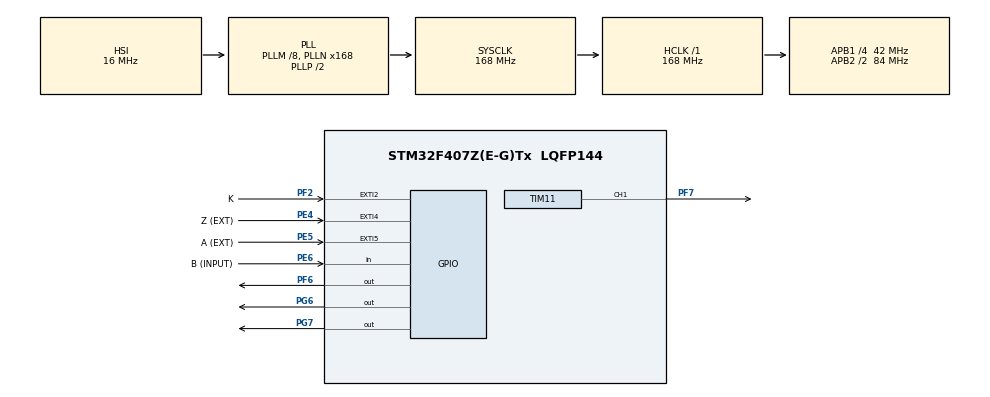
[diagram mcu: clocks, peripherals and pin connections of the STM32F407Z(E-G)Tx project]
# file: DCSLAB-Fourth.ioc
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Mcu.Family=STM32F4
Mcu.Name=STM32F407Z(E-G)Tx
Mcu.Package=LQFP144
NVIC.EXTI2_IRQn=true\:0\:0\:false\:false\:true\:true\:true\:true
NVIC.EXTI4_IRQn=true\:0\:0\:false\:false\:true\:true\:true\:true
NVIC.EXTI9_5_IRQn=true\:0\:0\:false\:false\:true\:true\:true\:true
NVIC.PriorityGroup=NVIC_PRIORITYGROUP_4
NVIC.TIM6_DAC_IRQn=true\:0\:0\:false\:false\:true\:true\:true\:true
NVIC.TIM7_IRQn=true\:0\:0\:false\:false\:true\:true\:true\:true
PE4.GPIO_Label=Z (EXT)
PE4.Signal=GPXTI4
PE5.GPIO_Label=A (EXT)
PE5.Signal=GPXTI5
PE6.GPIO_Label=B (INPUT)
PE6.Signal=GPIO_Input
PF2.GPIO_Label=K
PF2.Signal=GPXTI2
PF6.Signal=GPIO_Output
PF7.Signal=S_TIM11_CH1
PG6.Signal=GPIO_Output
PG7.Signal=GPIO_Output
ProjectManager.HeapSize=0x200
ProjectManager.StackSize=0x400
ProjectManager.TargetToolchain=STM32CubeIDE
RCC.48MHZClocksFreq_Value=84000000
RCC.AHBFreq_Value=168000000
RCC.APB1CLKDivider=RCC_HCLK_DIV4
RCC.APB1Freq_Value=42000000
RCC.APB1TimFreq_Value=84000000
RCC.APB2CLKDivider=RCC_HCLK_DIV2
RCC.APB2Freq_Value=84000000
RCC.APB2TimFreq_Value=168000000
RCC.CortexFreq_Value=168000000
RCC.HCLKFreq_Value=168000000
RCC.HSE_VALUE=25000000
RCC.HSI_VALUE=16000000
RCC.LSE_VALUE=32768
RCC.PLLM=8
RCC.PLLN=168
RCC.SYSCLKFreq_VALUE=168000000
RCC.SYSCLKSource=RCC_SYSCLKSOURCE_PLLCLK
RCC.VCOOutputFreq_Value=336000000
SH.S_TIM11_CH1.0=TIM11_CH1,PWM Generation1 CH1
TIM11.Channel=TIM_CHANNEL_1
TIM11.Period=1119
TIM11.Prescaler=9
TIM6.Period=9999
TIM6.Prescaler=15
TIM7.Period=9999
TIM7.Prescaler=159
VP_TIM11_VS_ClockSourceINT.Mode=Enable_Timer
VP_TIM6_VS_ClockSourceINT.Mode=Enable_Timer
VP_TIM7_VS_ClockSourceINT.Mode=Enable_Timer
board=custom

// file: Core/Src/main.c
/* USER CODE BEGIN Header */
/**
  ******************************************************************************
  * @file           : main.c
  * @brief          : Main program body
  ******************************************************************************
  * @attention
  *
  * Copyright (c) 2024 STMicroelectronics.
  * All rights reserved.
  *
  * This software is licensed under terms that can be found in the LICENSE file
  * in the root directory of this software component.
  * If no LICENSE file comes with this software, it is provided AS-IS.
  *
  ******************************************************************************
  */
/* USER CODE END Header */
#include "main.h"

TIM_HandleTypeDef htim6;
TIM_HandleTypeDef htim7;
TIM_HandleTypeDef htim11;

/* USER CODE BEGIN PV */
uint16_t counter;
int pos_counter;
float pos;
uint16_t speed;
uint16_t speed_previous;
int dir;
//uint16_t CCR_DB;
//uint16_t CCR_K1;
//uint16_t Speed_K1;
//uint16_t CCR_K2;
//uint16_t Speed_K2;
//uint16_t k_value;
//uint16_t Tau_value;

float Setpoint = 800;
float ek_1 = 0;
float ek;
float uk_1 = 0;
float uk;
uint16_t duty;
float Kp = 0.02;
float Ki = 0.2;
float Ts = 10;

typedef enum{
	INIT = 0, INIT2
} Engine_State_t;

Engine_State_t state = INIT;

typedef enum{
	OK = 0, ERR
} result_t;

//result_t init(void);
//result_t idle(void);
//result_t db(void);
//result_t k1(void);
//result_t k2(void);
//result_t tau(void);

void setDir(uint8_t dir);
void setDuty(uint16_t duty);
void setTs(uint8_t Ts);
void Vout2PWM(float u);

/* USER CODE END PV */

void SystemClock_Config(void);
static void MX_GPIO_Init(void);
static void MX_TIM6_Init(void);
static void MX_TIM11_Init(void);
static void MX_TIM7_Init(void);

int main(void)
{

  /* MCU Configuration--------------------------------------------------------*/

  /* Reset of all peripherals, Initializes the Flash interface and the Systick. */
  HAL_Init();

  /* Configure the system clock */
  SystemClock_Config();

  /* Initialize all configured peripherals */
  MX_GPIO_Init();
  MX_TIM6_Init();
  MX_TIM11_Init();
  MX_TIM7_Init();
  /* USER CODE BEGIN 2 */
  HAL_TIM_Base_Start_IT(&htim6);
  HAL_TIM_Base_Start_IT(&htim7);
  HAL_TIM_PWM_Start(&htim11, TIM_CHANNEL_1);

  TIM11->CCR1 = 0;
  pos = 0;

  /* USER CODE END 2 */

  /* Infinite loop */
  /* USER CODE BEGIN WHILE */
  while (1)
  {

	  	  switch(state){

	  	  	  case INIT:
	  	  		  HAL_Delay(1000);
	  	  		  TIM11->CCR1 = 350;
	  	  		  HAL_Delay(2000);
//	  	  		  state = set_Ts;
	  	  		  break;
	  	  	  case INIT2:

	  	  		  break;

	  	  	  default:
	  	  		  state = INIT;
	  	  		  break;
	  	  }

//	  switch(state){
//
//	  	  case INIT:
//	  		  state = IDLE;
//	  		  break;
//	  	  case IDLE:
//	  		  state = DB;
//	  		  break;
//	  	  case DB:
//	  		  if(db() == OK){
//	  			  state = K1;
//	  		  }
//	  		  break;
//	  	  case K1:
//	  		  TIM11->CCR1 = CCR_DB + 100;
//	  		  HAL_Delay(6000);
//	  		  CCR_K1 = TIM11->CCR1;
//	  		  Speed_K1 = speed;
//
//	  		  TIM11->CCR1 = TIM11->CCR1 * 2;
//	  		  state = K2;
//	  		  break;
//
//	  	  case K2:
//	  		  break;
//	  	  case Tau0:
//	  		  TIM11->CCR1 = CCR_K1;
//	  		  HAL_Delay(5000);
//	  		  TIM11->CCR1 = CCR_K2;
//	  		  state = Tau;
//	  		  break;
//	  	  case Tau:
//	  		  break;
//	  	  default:
//	  		  state = IDLE;
//	  		  break;
//
//	  }

    /* USER CODE END WHILE */

  }
}

void SystemClock_Config(void)
{
  RCC_OscInitTypeDef RCC_OscInitStruct = {0};
  RCC_ClkInitTypeDef RCC_ClkInitStruct = {0};

  /** Configure the main internal regulator output voltage
  */
  __HAL_RCC_PWR_CLK_ENABLE();
  __HAL_PWR_VOLTAGESCALING_CONFIG(PWR_REGULATOR_VOLTAGE_SCALE1);

  /** Initializes the RCC Oscillators according to the specified parameters
  * in the RCC_OscInitTypeDef structure.
  */
  RCC_OscInitStruct.OscillatorType = RCC_OSCILLATORTYPE_HSI;
  RCC_OscInitStruct.HSIState = RCC_HSI_ON;
  RCC_OscInitStruct.HSICalibrationValue = RCC_HSICALIBRATION_DEFAULT;
  RCC_OscInitStruct.PLL.PLLState = RCC_PLL_ON;
  RCC_OscInitStruct.PLL.PLLSource = RCC_PLLSOURCE_HSI;
  RCC_OscInitStruct.PLL.PLLM = 8;
  RCC_OscInitStruct.PLL.PLLN = 168;
  RCC_OscInitStruct.PLL.PLLP = RCC_PLLP_DIV2;
  RCC_OscInitStruct.PLL.PLLQ = 4;
  if (HAL_RCC_OscConfig(&RCC_OscInitStruct) != HAL_OK)
  {
    Error_Handler();
  }

  /** Initializes the CPU, AHB and APB buses clocks
  */
  RCC_ClkInitStruct.ClockType = RCC_CLOCKTYPE_HCLK|RCC_CLOCKTYPE_SYSCLK
                              |RCC_CLOCKTYPE_PCLK1|RCC_CLOCKTYPE_PCLK2;
  RCC_ClkInitStruct.SYSCLKSource = RCC_SYSCLKSOURCE_PLLCLK;
  RCC_ClkInitStruct.AHBCLKDivider = RCC_SYSCLK_DIV1;
  RCC_ClkInitStruct.APB1CLKDivider = RCC_HCLK_DIV4;
  RCC_ClkInitStruct.APB2CLKDivider = RCC_HCLK_DIV2;

  if (HAL_RCC_ClockConfig(&RCC_ClkInitStruct, FLASH_LATENCY_5) != HAL_OK)
  {
    Error_Handler();
  }
}

static void MX_TIM6_Init(void)
{

  TIM_MasterConfigTypeDef sMasterConfig = {0};

  htim6.Instance = TIM6;
  htim6.Init.Prescaler = 41;
  htim6.Init.CounterMode = TIM_COUNTERMODE_UP;
  htim6.Init.Period = 9999;
  htim6.Init.AutoReloadPreload = TIM_AUTORELOAD_PRELOAD_DISABLE;
  if (HAL_TIM_Base_Init(&htim6) != HAL_OK)
  {
    Error_Handler();
  }
  sMasterConfig.MasterOutputTrigger = TIM_TRGO_RESET;
  sMasterConfig.MasterSlaveMode = TIM_MASTERSLAVEMODE_DISABLE;
  if (HAL_TIMEx_MasterConfigSynchronization(&htim6, &sMasterConfig) != HAL_OK)
  {
    Error_Handler();
  }

}

static void MX_TIM7_Init(void)
{

  TIM_MasterConfigTypeDef sMasterConfig = {0};

  htim7.Instance = TIM7;
  htim7.Init.Prescaler = 159;
  htim7.Init.CounterMode = TIM_COUNTERMODE_UP;
  htim7.Init.Period = 9999;
  htim7.Init.AutoReloadPreload = TIM_AUTORELOAD_PRELOAD_DISABLE;
  if (HAL_TIM_Base_Init(&htim7) != HAL_OK)
  {
    Error_Handler();
  }
  sMasterConfig.MasterOutputTrigger = TIM_TRGO_RESET;
  sMasterConfig.MasterSlaveMode = TIM_MASTERSLAVEMODE_DISABLE;
  if (HAL_TIMEx_MasterConfigSynchronization(&htim7, &sMasterConfig) != HAL_OK)
  {
    Error_Handler();
  }

}

static void MX_TIM11_Init(void)
{

  TIM_OC_InitTypeDef sConfigOC = {0};

  htim11.Instance = TIM11;
  htim11.Init.Prescaler = 9;
  htim11.Init.CounterMode = TIM_COUNTERMODE_UP;
  htim11.Init.Period = 1119;
  htim11.Init.ClockDivision = TIM_CLOCKDIVISION_DIV1;
  htim11.Init.AutoReloadPreload = TIM_AUTORELOAD_PRELOAD_DISABLE;
  if (HAL_TIM_Base_Init(&htim11) != HAL_OK)
  {
    Error_Handler();
  }
  if (HAL_TIM_PWM_Init(&htim11) != HAL_OK)
  {
    Error_Handler();
  }
  sConfigOC.OCMode = TIM_OCMODE_PWM1;
  sConfigOC.Pulse = 0;
  sConfigOC.OCPolarity = TIM_OCPOLARITY_HIGH;
  sConfigOC.OCFastMode = TIM_OCFAST_DISABLE;
  if (HAL_TIM_PWM_ConfigChannel(&htim11, &sConfigOC, TIM_CHANNEL_1) != HAL_OK)
  {
    Error_Handler();
  }
  HAL_TIM_MspPostInit(&htim11);

}

static void MX_GPIO_Init(void)
{
  GPIO_InitTypeDef GPIO_InitStruct = {0};

  /* GPIO Ports Clock Enable */
  __HAL_RCC_GPIOE_CLK_ENABLE();
  __HAL_RCC_GPIOF_CLK_ENABLE();
  __HAL_RCC_GPIOG_CLK_ENABLE();

  /*Configure GPIO pin Output Level */
  HAL_GPIO_WritePin(GPIOF, GPIO_PIN_6, GPIO_PIN_RESET);

  /*Configure GPIO pin Output Level */
  HAL_GPIO_WritePin(GPIOG, GPIO_PIN_6|GPIO_PIN_7, GPIO_PIN_RESET);

  /*Configure GPIO pins : Z_Pin A_Pin */
  GPIO_InitStruct.Pin = Z_Pin|A_Pin;
  GPIO_InitStruct.Mode = GPIO_MODE_IT_RISING;
  GPIO_InitStruct.Pull = GPIO_NOPULL;
  HAL_GPIO_Init(GPIOE, &GPIO_InitStruct);

  /*Configure GPIO pin : B_Pin */
  GPIO_InitStruct.Pin = B_Pin;
  GPIO_InitStruct.Mode = GPIO_MODE_INPUT;
  GPIO_InitStruct.Pull = GPIO_NOPULL;
  HAL_GPIO_Init(B_GPIO_Port, &GPIO_InitStruct);

  /*Configure GPIO pin : K_Pin */
  GPIO_InitStruct.Pin = K_Pin;
  GPIO_InitStruct.Mode = GPIO_MODE_IT_RISING;
  GPIO_InitStruct.Pull = GPIO_NOPULL;
  HAL_GPIO_Init(K_GPIO_Port, &GPIO_InitStruct);

  /*Configure GPIO pin : PF6 */
  GPIO_InitStruct.Pin = GPIO_PIN_6;
  GPIO_InitStruct.Mode = GPIO_MODE_OUTPUT_PP;
  GPIO_InitStruct.Pull = GPIO_NOPULL;
  GPIO_InitStruct.Speed = GPIO_SPEED_FREQ_LOW;
  HAL_GPIO_Init(GPIOF, &GPIO_InitStruct);

  /*Configure GPIO pins : PG6 PG7 */
  GPIO_InitStruct.Pin = GPIO_PIN_6|GPIO_PIN_7;
  GPIO_InitStruct.Mode = GPIO_MODE_OUTPUT_PP;
  GPIO_InitStruct.Pull = GPIO_NOPULL;
  GPIO_InitStruct.Speed = GPIO_SPEED_FREQ_LOW;
  HAL_GPIO_Init(GPIOG, &GPIO_InitStruct);

  /* EXTI interrupt init*/
  HAL_NVIC_SetPriority(EXTI2_IRQn, 0, 0);
  HAL_NVIC_EnableIRQ(EXTI2_IRQn);

  HAL_NVIC_SetPriority(EXTI4_IRQn, 0, 0);
  HAL_NVIC_EnableIRQ(EXTI4_IRQn);

  HAL_NVIC_SetPriority(EXTI9_5_IRQn, 0, 0);
  HAL_NVIC_EnableIRQ(EXTI9_5_IRQn);

}

/* USER CODE BEGIN 4 */
void HAL_GPIO_EXTI_Callback(uint16_t GPIO_Pin)
{
	if (GPIO_Pin == A_Pin)
	{
		counter = counter + 1;
		dir = HAL_GPIO_ReadPin(B_GPIO_Port, B_Pin);
		if (dir == 1){
			pos_counter = pos_counter - (1);
			if(pos_counter == -1){
				pos_counter = 1023;
			}
			//pos = pos + (360/1024);
		}
		else if (dir == 0){
			pos_counter = pos_counter + (1);
		}
	}

	if (GPIO_Pin == Z_Pin)
	{
		pos_counter = 0;
	}
	pos = ((pos_counter * 360) / 1024);

	if(GPIO_Pin == K_Pin){
		state = INIT2;
	}

}

void HAL_TIM_PeriodElapsedCallback(TIM_HandleTypeDef *htim)
{
	if (htim->Instance == TIM6)
	{
		speed = ((counter * 12000) / 1024);
		counter = 0;

//		if(state == Tau0){
//			Tau_value = 0;
//		}
//		if(state == Tau){
//			if(speed < Speed_K1 + 0.63 * (Speed_K2 - Speed_K1)){
//				Tau_value = Tau_value + 5;
//			}
//		}
	}

	if (htim->Instance == TIM7)
	{
		if(state == INIT2){
			ek = Setpoint - speed;
			uk = uk_1 + ek * (1000*Kp + Ki * Ts)/1000 - ek_1 * Kp;
			ek_1 = ek;
			uk_1 = uk;

			Vout2PWM(uk);

			setDir(dir);
			setDuty(duty);
		}

	}

//	if (htim->Instance == TIM7)
//	{
//		if(state == DB){
//			TIM11->CCR1 = TIM11->CCR1 + 10;
//		}
////		if(state == K1){
////			if((speed - speed_previous) < 20){
////				if((speed - speed_previous) > -20){
////			  		CCR_K1 = TIM->CCR1;
////			  		Speed_K1 = speed;
////
////			  		TIM->CCR1 =
////			  		state = K2;
////				}
////			}
////		}

//		if(state == K2){
//			if((speed - speed_previous) < 10){
//				if((speed - speed_previous) > -10){
//			  		CCR_K2 = TIM11->CCR1;
//			  		Speed_K2 = speed;
//
//			  		k_value = ((Speed_K2 - Speed_K1) / (CCR_K2 - CCR_K1)) * (1119 / 12);
//			  		state = Tau0;
//				}
//			}
//			speed_previous = speed;
//		}
//	}

}

//result_t init(void){
//	return OK;
//}
//result_t idle(void){
//	CCR_DB = 0;
//	TIM11->CCR1 = 0;
//	return OK;
//}
//result_t db(void){
//	if(speed > 15){
//		CCR_DB = TIM11->CCR1;
//		return OK;
//	}
//	else{
//		return ERR;
//	}
//}
//result_t k1(void){
//	return OK;
//}
//result_t k2(void){
//	return OK;
//}
//result_t tau(void){
//	return OK;
//}

void setDir(uint8_t dir){
	if(dir == 0){
		HAL_GPIO_WritePin(GPIOF, GPIO_PIN_6, 0);
	}
	if(dir == 1){
		HAL_GPIO_WritePin(GPIOF, GPIO_PIN_6, 1);
	}
}

void setDuty(uint16_t duty){
	TIM11->CCR1 = (duty * 1119) / 1000;
}

void setTs(uint8_t Ts){
	TIM7->ARR = ((Ts * (84000000 / (839 + 1))) / 1000) - 1;
} // 839 : PSC

void Vout2PWM(float u){
	if(u > 12){
		u = 12;
	}
	else if(u < -12){
		u = -12;
	}

	duty = (u * 1000) / 12;

	if(u > 0){
		dir = 0;
	}
	else if(u <= 0){
		dir = 1;
	}
}

/* USER CODE END 4 */

void Error_Handler(void)
{
  __disable_irq();
  while (1)
  {
  }
}
